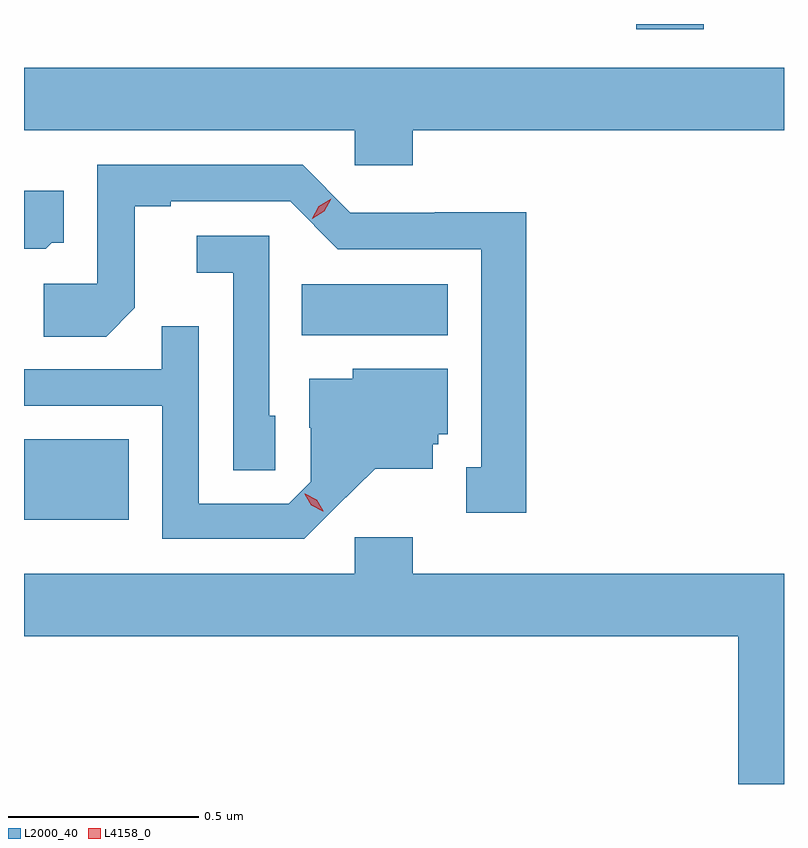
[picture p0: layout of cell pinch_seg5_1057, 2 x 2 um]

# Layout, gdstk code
import gdstk
lib = gdstk.Library(unit=1e-6, precision=1e-09)
def R(c, l, rs):  # rectangles x0, y0, x1, y1
    for r in rs: c.add(gdstk.rectangle(r[:2], r[2:], *l))
def P(c, l, *ps):  # polygons
    for p in ps: c.add(gdstk.Polygon(p, *l))
L2000_40 = (2000, 40)
L4158_0 = (4158, 0)

pinch_seg5_1057 = lib.new_cell('pinch_seg5_1057')
R(pinch_seg5_1057, L2000_40, [(713.171,842.414,713.446,842.626), (713.902,842.9,714.286,843.034), (714.782,843.705,714.96,843.719)])
P(pinch_seg5_1057, L2000_40, [(714.194,843.44),(715.171,843.44),(715.171,843.604),(713.171,843.604),(713.171,843.44),(714.042,843.44),(714.042,843.347),(714.194,843.347)],
  [(714.493,843.224),(714.252,843.224),(714.252,843.222),(714.03,843.222),(713.904,843.348),(713.364,843.348),(713.364,843.036),(713.223,843.036),(713.223,842.896),(713.387,842.896),(713.463,842.972),(713.463,843.24),(713.557,843.24),(713.557,843.252),(713.871,843.252),(713.997,843.126),(714.374,843.126),(714.374,842.553),(714.335,842.553),(714.335,842.433),(714.493,842.433)],
  [(713.244,843.144),(713.275,843.144),(713.275,843.28),(713.171,843.28),(713.171,843.128),(713.228,843.128)],
  [(713.832,842.688),(713.817,842.688),(713.817,843.162),(713.625,843.162),(713.625,843.065),(713.721,843.065),(713.721,842.545),(713.832,842.545)],
  [(713.992,842.447),(714.095,842.549),(714.247,842.549),(714.247,842.613),(714.261,842.613),(714.261,842.64),(714.286,842.64),(714.286,842.812),(714.036,842.812),(714.036,842.785),(713.921,842.785),(713.921,842.656),(713.925,842.656),(713.925,842.514),(713.868,842.457),(713.631,842.457),(713.631,842.924),(713.533,842.924),(713.533,842.811),(713.171,842.811),(713.171,842.715),(713.535,842.715),(713.535,842.364),(713.908,842.364)],
  [(715.171,842.272),(714.194,842.272),(714.194,842.368),(714.042,842.368),(714.042,842.272),(713.171,842.272),(713.171,842.108),(715.05,842.108),(715.05,841.719),(715.171,841.719)])
P(pinch_seg5_1057, L4158_0, [(713.929,843.207),(713.929,843.208),(713.947,843.24),(713.979,843.259),(713.979,843.259),(713.979,843.259),(713.961,843.226),(713.929,843.207)],
  [(713.957,842.437),(713.927,842.453),(713.91,842.482),(713.91,842.483),(713.911,842.483),(713.941,842.467),(713.958,842.438),(713.958,842.437)])

lib.write_gds('pinch_seg5_1057.gds')
